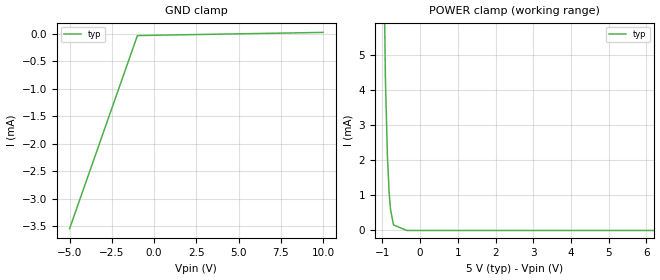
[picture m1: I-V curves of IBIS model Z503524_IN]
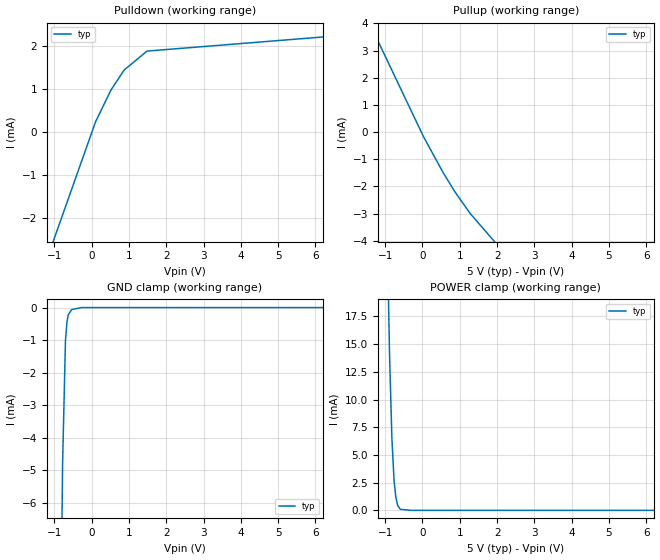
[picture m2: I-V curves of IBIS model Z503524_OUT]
| YOU ARE ONLY AUTHORIZED TO USE THIS SOFTWARE
| ACCORDING TO LICENSOR'S LICENSE RESTRICTIONS.
[IBIS Ver] 3.1
[File Name] mc14040bcl.ibs
[File Rev] 2.0
[Source] Measured and created by ICX Technology
[Date] Friday 7/14/00 9:07:52 AM
[Copyright]
| (C) COPYRIGHT 1993-2000
| MENTOR GRAPHICS CORPORATION
| ICX STANDARD LIBRARY, ICX PROJECT MODELING,
| ICX CUSTOM MODELING, ICX VENDOR MODEL
| ALL RIGHTS RESERVED.
| THE FOLLOWING ARE TRADEMARKS OR SERVICE MARKS OF
| MENTOR GRAPHICS CORPORATION:ICX (R), ICX STANDARD
| LIBRARY(R), ICX PROJECT MODELING(R), ICX CUSTOM
| MODELING(R), qualityIBIS(TM), MODELVIEWER(TM),
| AND MODELEDITOR(TM)
| ALL COPIES OF SOFTWARE, INCLUDING BUT NOT LIMITED TO
| ANY MODIFICATIONS, ENHANCEMENTS OR DERIVATIVE WORKS,
| MUST CONTAIN ALL MENTOR GRAPHICS CORPORATION'S
| NOTICES AND LEGENDS, INCLUDING THOSE EMBEDDED IN
| SOFTWARE AND THOSE AFFIXED TO SOFTWARE MEDIUM
| AND CONTAINER, AS RECEIVED FROM MENTOR GRAPHICS
| CORPORATION.
|  ZAP Model Builder 2.7
[Component] MC14040BCL
[Manufacturer] OnSemiconductor
[Package]
| variable   typ   min   max
R_pkg  .212ohms NA NA
L_pkg  4.758nH NA NA
C_pkg  1.944pF NA NA
[Pin] signal_name  model_name  R_pin  L_pin C_pin
1 Q12 Z503524_OUT .224 7.258n 2.683p
2 Q6 Z503524_OUT .216 5.258n 2.19p
3 Q5 Z503524_OUT .208 3.758n 1.697p
4 Q7 Z503524_OUT .2 2.758n 1.204p
5 Q4 Z503524_OUT .2 2.758n 1.204p
6 Q3 Z503524_OUT .208 3.758n 1.697p
7 Q2 Z503524_OUT .216 5.258n 2.19p
8 VSS GND .224 7.258n 2.683p
9 Q1 Z503524_OUT .224 7.258n 2.683p
10 C Z503524_IN .216 5.258n 2.19p
11 R Z503524_IN .208 3.758n 1.697p
12 Q9 Z503524_OUT .2 2.758n 1.204p
13 Q8 Z503524_OUT .2 2.758n 1.204p
14 Q10 Z503524_OUT .208 3.758n 1.697p
15 Q11 Z503524_OUT .216 5.258n 2.19p
16 VDD POWER .224 7.258n 2.683p
| Models and submodels in the file (2): Z503524_IN (Input), Z503524_OUT (Output)
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| (C) COPYRIGHT 1993-2000
| MENTOR GRAPHICS CORPORATION
| ICX STANDARD LIBRARY, ICX PROJECT MODELING,
| ICX CUSTOM MODELING, ICX VENDOR MODEL
| ALL RIGHTS RESERVED.
| THE FOLLOWING ARE TRADEMARKS OR SERVICE MARKS OF
| MENTOR GRAPHICS CORPORATION:ICX (R), ICX STANDARD
| LIBRARY(R), ICX PROJECT MODELING(R), ICX CUSTOM
| MODELING(R), qualityIBIS(TM), MODELVIEWER(TM),
| AND MODELEDITOR(TM)
| ALL COPIES OF SOFTWARE, INCLUDING BUT NOT LIMITED TO
| ANY MODIFICATIONS, ENHANCEMENTS OR DERIVATIVE WORKS,
| MUST CONTAIN ALL MENTOR GRAPHICS CORPORATION'S
| NOTICES AND LEGENDS, INCLUDING THOSE EMBEDDED IN
| SOFTWARE AND THOSE AFFIXED TO SOFTWARE MEDIUM
| AND CONTAINER, AS RECEIVED FROM MENTOR GRAPHICS
| CORPORATION.
| Model Application Version 1.89 2/18/99.
[Model] Z503524_IN
Model_type Input
Vinl = 1.500V
Vinh = 3.500V
C_comp 4.000pF NA NA
| variable typ   min   max
[Voltage Range] 5.000V NA NA
[GND Clamp Reference] 0.000V NA NA
[POWER Clamp Reference] 5.000V NA NA
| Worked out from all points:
|   POWER clamp passes 1 mA (typ) near -0.82 V on its own axis
[GND Clamp]
-5V       -3.548mA   NA         NA
-985mV    -27.55uA   NA         NA
10V       29.84uA    NA         NA
[POWER Clamp]
-5V       680.5mA    NA         NA
-1.215V   36.79mA    NA         NA
-1.055V   15.32mA    NA         NA
-923mV    4.391mA    NA         NA
-868mV    2.099mA    NA         NA
-820mV    1.025mA    NA         NA
-784mV    587.7uA    NA         NA
-706mV    156.4uA    NA         NA
-353mV    0A         NA         NA
10V       0A         NA         NA
| (C) COPYRIGHT 1993-2000
| MENTOR GRAPHICS CORPORATION
| ICX STANDARD LIBRARY, ICX PROJECT MODELING,
| ICX CUSTOM MODELING, ICX VENDOR MODEL
| ALL RIGHTS RESERVED.
| THE FOLLOWING ARE TRADEMARKS OR SERVICE MARKS OF
| MENTOR GRAPHICS CORPORATION:ICX (R), ICX STANDARD
| LIBRARY(R), ICX PROJECT MODELING(R), ICX CUSTOM
| MODELING(R), qualityIBIS(TM), MODELVIEWER(TM),
| AND MODELEDITOR(TM)
| ALL COPIES OF SOFTWARE, INCLUDING BUT NOT LIMITED TO
| ANY MODIFICATIONS, ENHANCEMENTS OR DERIVATIVE WORKS,
| MUST CONTAIN ALL MENTOR GRAPHICS CORPORATION'S
| NOTICES AND LEGENDS, INCLUDING THOSE EMBEDDED IN
| SOFTWARE AND THOSE AFFIXED TO SOFTWARE MEDIUM
| AND CONTAINER, AS RECEIVED FROM MENTOR GRAPHICS
| CORPORATION.
| Model Application Version 1.89 2/18/99.
[Model] Z503524_OUT
Model_type Output
Vref=0.000V
Rref=500.0Mohms
Cref=50.00pF
Vmeas=2.500V
C_comp 8.000pF NA NA
| variable typ   min   max
[Voltage Range] 5.000V NA NA
[POWER Clamp Reference] 5.000V NA NA
[Pullup Reference] 5.000V NA NA
[Pulldown Reference] 0.000V NA NA
[GND Clamp Reference] 0.000V NA NA
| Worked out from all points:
|   slope of the pulldown table from 0 to 0.75 V, typ, clamps not added: 575 ohm
|   slope of the pullup table from 0 to 0.75 V, typ, clamps not added: 407 ohm
|   GND clamp passes 1 mA (typ) near -0.70 V on its own axis
|   POWER clamp passes 1 mA (typ) near -0.70 V on its own axis
[GND Clamp]
-5V       -451.3mA   NA         NA
-779.2mV  -4.797mA   NA         NA
-702.9mV  -1.035mA   NA         NA
-664.1mV  -459.4uA   NA         NA
-628.1mV  -221.8uA   NA         NA
-536.8mV  -61.98uA   NA         NA
-268.4mV  0A         NA         NA
10V       0A         NA         NA
[Pulldown]
-5V       -12.3mA    NA         NA
104.9mV   240.9uA    NA         NA
517.5mV   980.6uA    NA         NA
869.6mV   1.446mA    NA         NA
1.484V    1.889mA    NA         NA
10V       2.484mA    NA         NA
[Pullup]
-5V       14.34mA    NA         NA
24mV      -158.7uA   NA         NA
552mV     -1.488mA   NA         NA
860mV     -2.18mA    NA         NA
1.27V     -2.982mA   NA         NA
10V       -16.86mA   NA         NA
[POWER Clamp]
-5V       751.1mA    NA         NA
-883mV    14.08mA    NA         NA
-820mV    6.517mA    NA         NA
-762mV    2.696mA    NA         NA
-715mV    1.208mA    NA         NA
-665mV    445.8uA    NA         NA
-594mV    94.6uA     NA         NA
-297mV    0A         NA         NA
10V       0A         NA         NA
[Ramp]
| variable typ min max
dV/dt_r 2.599/24.71n NA NA
dV/dt_f 2.599/27.51n NA NA
R_load = 2.500kOhms
